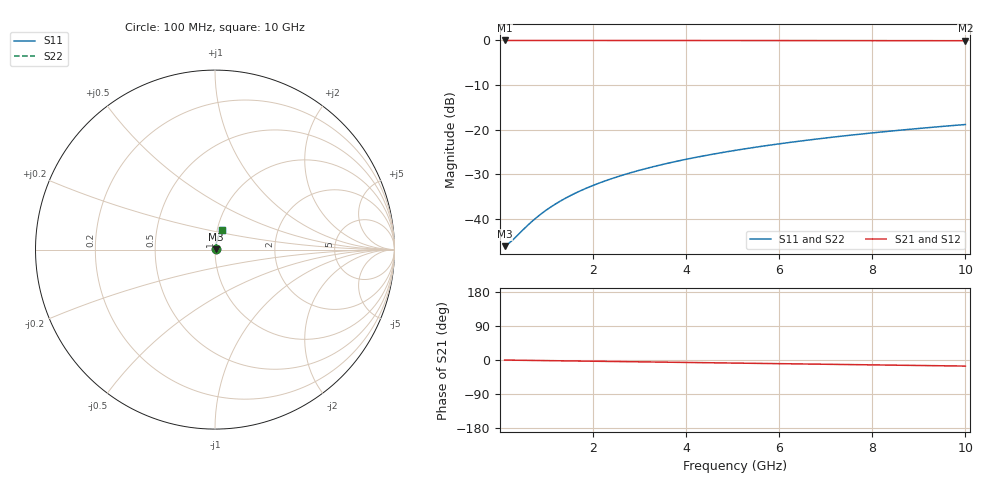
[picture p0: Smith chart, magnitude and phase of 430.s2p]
# Hz S RI R 50.00
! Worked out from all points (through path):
!   100 points, 100 MHz to 10 GHz, reference 50 ohm
!   highest |S21| = -0.04 dB at 100 MHz (marker M1); lowest = -0.1 dB at 10 GHz (marker M2)
!   group delay of S21, straight-line fit = 4.46 ps
!   lowest |S11| = -46.1 dB at 100 MHz (marker M3), VSWR 1.01, Z = 50.5 + j0.116 ohm
!   |S11| at or under -10 dB: start of sweep to end of sweep
!   |S22| runs from -46.1 to -18.9 dB; largest |S21 - S12| = 1e-14
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1e8  0.00482 0.00114  0.9952 -0.0028  0.9952 -0.0028  0.00482 0.00114
2e8  0.00486 0.00229  0.9951 -0.00559  0.9951 -0.00559  0.00486 0.00229
3e8  0.0049 0.00343  0.9951 -0.00839  0.9951 -0.00839  0.0049 0.00343
5e8  0.00498 0.00572  0.995 -0.014  0.995 -0.014  0.00498 0.00572
7e8  0.00509 0.00801  0.9948 -0.0196  0.9948 -0.0196  0.00509 0.00801
8e8  0.00515 0.00915  0.9948 -0.0224  0.9948 -0.0224  0.00515 0.00915
1e9  0.00528 0.0114  0.9946 -0.0279  0.9946 -0.0279  0.00528 0.0114
1.2e9  0.00544 0.0137  0.9943 -0.0335  0.9943 -0.0335  0.00544 0.0137
1.4e9  0.00562 0.016  0.9941 -0.0391  0.9941 -0.0391  0.00562 0.016
1.6e9  0.00583 0.0183  0.9938 -0.0447  0.9938 -0.0447  0.00583 0.0183
1.8e9  0.00606 0.0206  0.9935 -0.0503  0.9935 -0.0503  0.00606 0.0206
2.1e9  0.00646 0.024  0.9929 -0.0586  0.9929 -0.0586  0.00646 0.024
2.5e9  0.00707 0.0285  0.992 -0.0698  0.992 -0.0698  0.00707 0.0285
2.9e9  0.00778 0.033  0.991 -0.0809  0.991 -0.0809  0.00778 0.033
3.4e9  0.00881 0.0386  0.9896 -0.0948  0.9896 -0.0948  0.00881 0.0386
4.2e9  0.0108 0.0476  0.9867 -0.1169  0.9867 -0.1169  0.0108 0.0476
5.1e9  0.0135 0.0575  0.9829 -0.1417  0.9829 -0.1417  0.0135 0.0575
5.9e9  0.0163 0.0661  0.9789 -0.1636  0.9789 -0.1636  0.0163 0.0661
6.7e9  0.0195 0.0747  0.9743 -0.1853  0.9743 -0.1853  0.0195 0.0747
7.5e9  0.023 0.083  0.9691 -0.2069  0.9691 -0.2069  0.023 0.083
8.4e9  0.0275 0.0922  0.9627 -0.231  0.9627 -0.231  0.0275 0.0922
1e10  0.0365 0.108  0.9496 -0.2731  0.9496 -0.2731  0.0365 0.108
